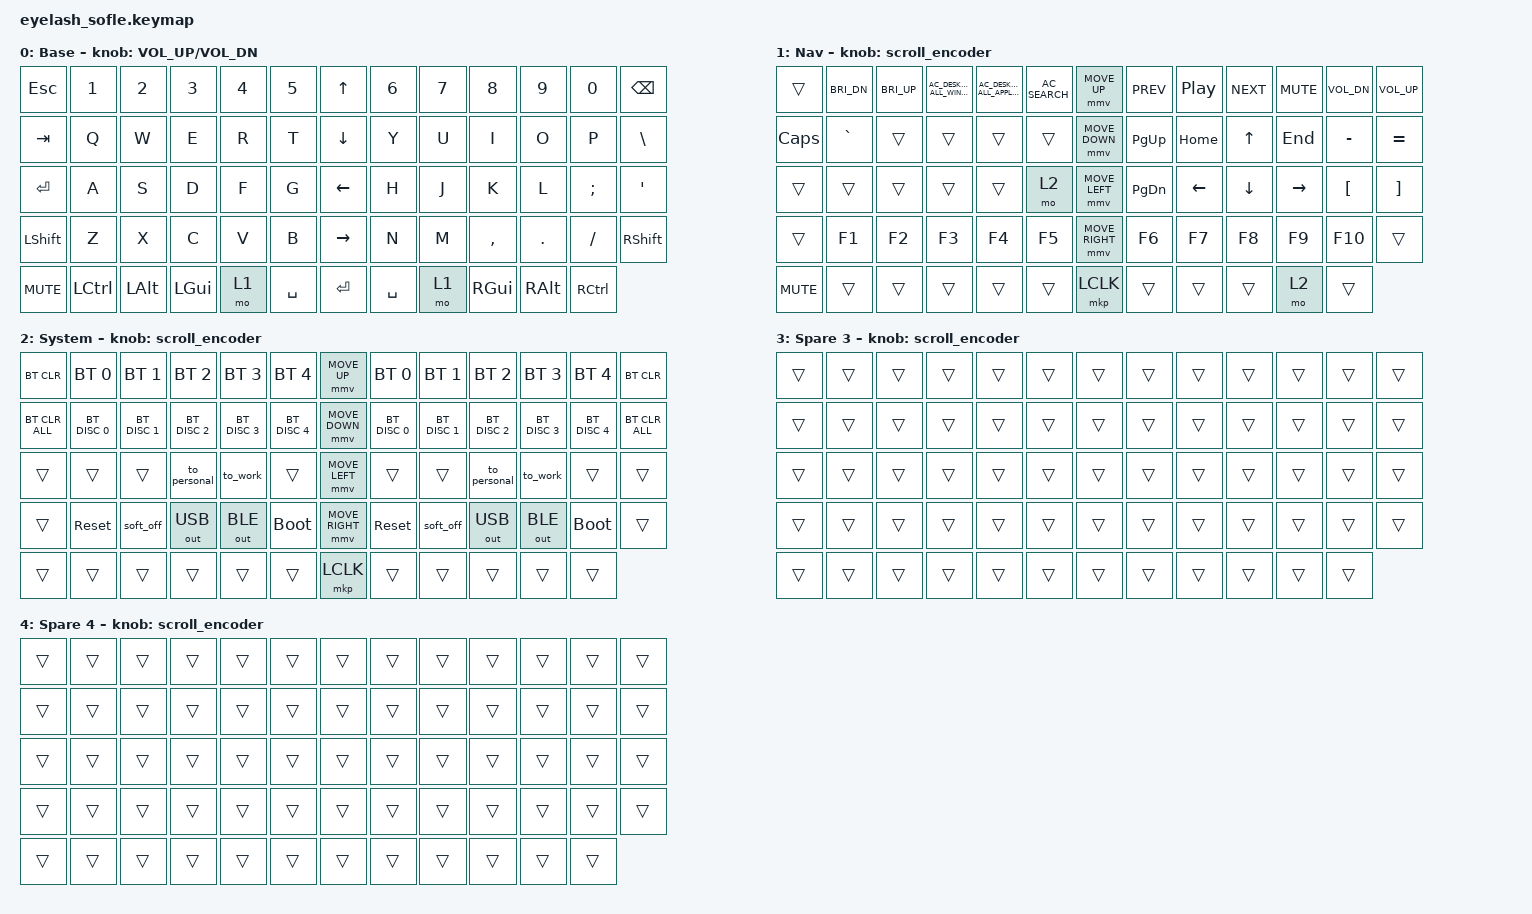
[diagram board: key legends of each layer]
#define ZMK_POINTING_DEFAULT_MOVE_VAL 1200  // 600
#define ZMK_POINTING_DEFAULT_SCRL_VAL 25   // 10

#include <input/processors.dtsi>
#include <zephyr/dt-bindings/input/input-event-codes.h>
#include <behaviors.dtsi>
#include <dt-bindings/zmk/bt.h>
#include <dt-bindings/zmk/keys.h>
#include <dt-bindings/zmk/outputs.h>
#include <dt-bindings/zmk/pointing.h>
#include <dt-bindings/zmk/rgb.h>

&mmv_input_listener { input-processors = <&zip_xy_scaler 2 1>; };

&msc_input_listener { input-processors = <&zip_scroll_scaler 2 1>; };

&msc {
    acceleration-exponent = <1>;      // 0
    time-to-max-speed-ms = <100>;       // 300
    delay-ms = <0>;                   // 0
};

&mmv {
    time-to-max-speed-ms = <500>;
    acceleration-exponent = <1>;
    trigger-period-ms = <16>;
};

&soft_off { hold-time-ms = <2000>; };

/ {
    scroll_encoder: scroll_encoder {
        compatible = "zmk,behavior-sensor-rotate";
        #sensor-binding-cells = <0>;
        bindings = <&msc SCRL_DOWN>, <&msc SCRL_UP>;

        tap-ms = <100>;
    };

    behaviors {
    };

    combos {
        compatible = "zmk,combos";

        softoff {
            bindings = <&soft_off>;
            key-positions = <14 28 40>;
        };
    };

    macros {
        SHIFT_MCLK: SHIFT_MCLK {
            compatible = "zmk,behavior-macro";
            #binding-cells = <0>;
            bindings =
                <&macro_press>,
                <&kp LEFT_SHIFT>,
                <&macro_press>,
                <&mkp MB3>,
                <&macro_pause_for_release>,
                <&macro_release>,
                <&kp LEFT_SHIFT &mkp MB3>;

            label = "SHIFT_MCLK";
        };

        // desk-switch (~/projects/tools/desk-switch): the Mac that has the keyboard
        // catches the hotkey and moves the monitor and mouse; the wait gives the key
        // release time to reach that Mac before the keyboard changes output.
        // The personal Mac is reached over USB when the left half is cabled to it
        // (OUT_USB falls back to Bluetooth profile 1 when no host is on the cable);
        // the work Mac always over Bluetooth.
        to_personal: to_personal {
            compatible = "zmk,behavior-macro";
            #binding-cells = <0>;
            display-name = "To Personal Mac";
            tap-ms = <40>;
            wait-ms = <150>;
            bindings = <&macro_tap &kp F18>, <&macro_tap &out OUT_USB &bt BT_SEL 1>;
        };

        to_work: to_work {
            compatible = "zmk,behavior-macro";
            #binding-cells = <0>;
            display-name = "To Work Mac";
            tap-ms = <40>;
            wait-ms = <150>;
            bindings = <&macro_tap &kp F19>, <&macro_tap &out OUT_BLE &bt BT_SEL 2>;
        };
    };

    keymap {
        compatible = "zmk,keymap";

        layer0 {
            bindings = <
&kp ESC     &kp N1     &kp N2        &kp N3        &kp N4  &kp N5       &kp UP_ARROW     &kp N6     &kp N7  &kp N8     &kp N9    &kp N0      &kp BACKSPACE
&kp TAB     &kp Q      &kp W         &kp E         &kp R   &kp T        &kp DOWN_ARROW   &kp Y      &kp U   &kp I      &kp O     &kp P       &kp BSLH
&kp ENTER   &kp A      &kp S         &kp D         &kp F   &kp G        &kp LEFT_ARROW   &kp H      &kp J   &kp K      &kp L     &kp SEMI    &kp APOS
&kp LSHFT   &kp Z      &kp X         &kp C         &kp V   &kp B        &kp RIGHT_ARROW  &kp N      &kp M   &kp COMMA  &kp DOT   &kp FSLH    &kp RIGHT_SHIFT
&kp C_MUTE  &kp LCTRL  &kp LEFT_ALT  &kp LEFT_GUI  &mo 1   &kp SPACE    &kp ENTER        &kp SPACE  &mo 1   &kp RGUI   &kp RALT  &kp RCTL
            >;

            sensor-bindings = <&inc_dec_kp C_VOLUME_UP C_VOL_DN>;
            display-name = "Base";
        };

        layer_1 {
            bindings = <
&trans      &kp C_BRI_DN  &kp C_BRI_UP  &kp C_AC_DESKTOP_SHOW_ALL_WINDOWS  &kp C_AC_DESKTOP_SHOW_ALL_APPLICATIONS  &kp C_AC_SEARCH    &mmv MOVE_UP     &kp C_PREV  &kp C_PP  &kp C_NEXT  &kp C_MUTE  &kp C_VOL_DN      &kp C_VOLUME_UP
&kp CAPS    &kp GRAVE     &trans        &trans                             &trans                                  &trans             &mmv MOVE_DOWN   &kp PG_UP   &kp HOME  &kp UP      &kp END     &kp MINUS         &kp EQUAL
&trans      &trans        &trans        &trans                             &trans                                  &mo 2              &mmv MOVE_LEFT   &kp PG_DN   &kp LEFT  &kp DOWN    &kp RIGHT   &kp LEFT_BRACKET  &kp RIGHT_BRACKET
&trans      &kp F1        &kp F2        &kp F3                             &kp F4                                  &kp F5             &mmv MOVE_RIGHT  &kp F6      &kp F7    &kp F8      &kp F9      &kp F10           &trans
&kp C_MUTE  &trans        &trans        &trans                             &trans                                  &trans             &mkp LCLK        &trans      &trans    &trans      &mo 2       &trans
            >;

            display-name = "Nav";
            sensor-bindings = <&scroll_encoder>;
        };

        layer_2 {
            bindings = <
&bt BT_CLR      &bt BT_SEL 0   &bt BT_SEL 1   &bt BT_SEL 2   &bt BT_SEL 3   &bt BT_SEL 4     &mmv MOVE_UP     &bt BT_SEL 0   &bt BT_SEL 1   &bt BT_SEL 2   &bt BT_SEL 3   &bt BT_SEL 4   &bt BT_CLR
&bt BT_CLR_ALL  &bt BT_DISC 0  &bt BT_DISC 1  &bt BT_DISC 2  &bt BT_DISC 3  &bt BT_DISC 4    &mmv MOVE_DOWN   &bt BT_DISC 0  &bt BT_DISC 1  &bt BT_DISC 2  &bt BT_DISC 3  &bt BT_DISC 4  &bt BT_CLR_ALL
&trans          &trans         &trans         &to_personal   &to_work       &trans           &mmv MOVE_LEFT   &trans         &trans         &to_personal   &to_work       &trans         &trans
&trans          &sys_reset     &soft_off      &out OUT_USB   &out OUT_BLE   &bootloader      &mmv MOVE_RIGHT  &sys_reset     &soft_off      &out OUT_USB   &out OUT_BLE   &bootloader    &trans
&trans          &trans         &trans         &trans         &trans         &trans           &mkp LCLK        &trans         &trans         &trans         &trans         &trans
            >;

            display-name = "System";
            sensor-bindings = <&scroll_encoder>;
        };

        layer_3 {
            bindings = <
&trans  &trans  &trans  &trans  &trans  &trans    &trans  &trans  &trans  &trans  &trans  &trans  &trans
&trans  &trans  &trans  &trans  &trans  &trans    &trans  &trans  &trans  &trans  &trans  &trans  &trans
&trans  &trans  &trans  &trans  &trans  &trans    &trans  &trans  &trans  &trans  &trans  &trans  &trans
&trans  &trans  &trans  &trans  &trans  &trans    &trans  &trans  &trans  &trans  &trans  &trans  &trans
&trans  &trans  &trans  &trans  &trans  &trans    &trans  &trans  &trans  &trans  &trans  &trans
            >;

            display-name = "Spare 3";
            sensor-bindings = <&scroll_encoder>;
        };

        layer_4 {
            bindings = <
&trans  &trans  &trans  &trans  &trans  &trans    &trans  &trans  &trans  &trans  &trans  &trans  &trans
&trans  &trans  &trans  &trans  &trans  &trans    &trans  &trans  &trans  &trans  &trans  &trans  &trans
&trans  &trans  &trans  &trans  &trans  &trans    &trans  &trans  &trans  &trans  &trans  &trans  &trans
&trans  &trans  &trans  &trans  &trans  &trans    &trans  &trans  &trans  &trans  &trans  &trans  &trans
&trans  &trans  &trans  &trans  &trans  &trans    &trans  &trans  &trans  &trans  &trans  &trans
            >;

            display-name = "Spare 4";
            sensor-bindings = <&scroll_encoder>;
        };
    };
};
